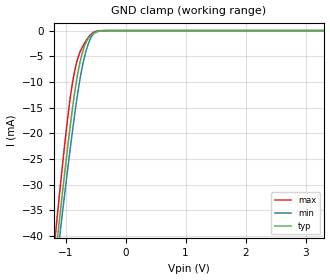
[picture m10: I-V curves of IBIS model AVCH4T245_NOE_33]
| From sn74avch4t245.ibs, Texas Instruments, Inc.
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[Model]   AVCH4T245_NOE_33
Model_type  Input
Vinl=0.8
Vinh=2.0
| variable   typ   min   max
C_comp   2.72pF   2.09pF   3.44pF
[Temperature Range]   40   100   -40
| Ambient temperature   25   85   -40
[Voltage range]   3.3   3   3.6
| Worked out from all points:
|   GND clamp passes 1 mA (typ) near -0.58 V on its own axis
[GND Clamp]
| AVCH4T245_NOE_33
|   Voltage   I(typ)   I(min)   I(max)
-4.6V     -459.2mA   -437.9mA   -484.2mA
-1.19V    -46.52mA   -49.58mA   -42.3mA
-1.16V    -43.23mA   -46.49mA   -38.76mA
-1.13V    -39.97mA   -43.42mA   -35.25mA
-1.105V   -37.28mA   -40.88mA   -32.35mA
-1.08V    -34.61mA   -38.36mA   -29.5mA
-950mV    -21.28mA   -25.63mA   -15.65mA
-835mV    -11.06mA   -15.29mA   -7.217mA
-760mV    -6.238mA   -9.522mA   -4.207mA
-680mV    -2.88mA    -4.916mA   -2.377mA
-520mV    -424.9uA   -517.7uA   -253uA
3.3V      197.1pA    969.9pA    49.62pA
